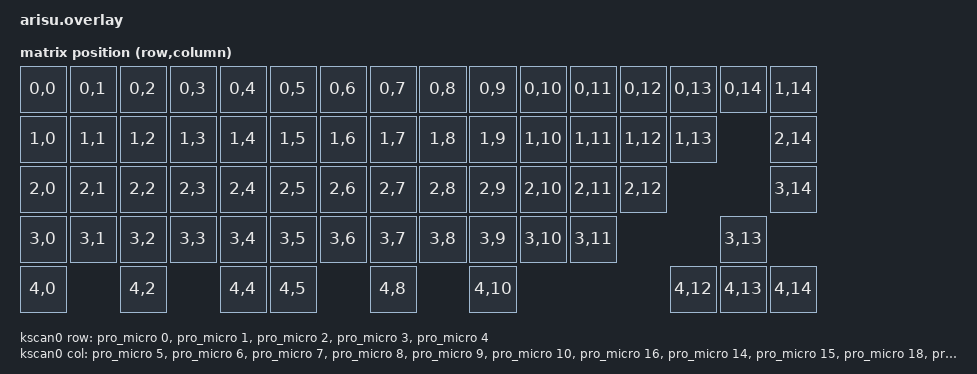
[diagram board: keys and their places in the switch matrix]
#include <dt-bindings/zmk/matrix_transform.h>

/ {
    chosen {
        zmk,kscan = &kscan0;
        zmk,matrix-transform = &default_transform;
    };


    default_transform: keymap_transform_0 {
        compatible = "zmk,matrix-transform";
        columns = <15>;
        rows = <5>;
        // Ánh xạ dựa trên layout QMK bạn cung cấp
        map = <
RC(0,0) RC(0,1) RC(0,2) RC(0,3) RC(0,4) RC(0,5) RC(0,6) RC(0,7) RC(0,8) RC(0,9) RC(0,10) RC(0,11) RC(0,12) RC(0,13) RC(0,14) RC(1,14)
RC(1,0) RC(1,1) RC(1,2) RC(1,3) RC(1,4) RC(1,5) RC(1,6) RC(1,7) RC(1,8) RC(1,9) RC(1,10) RC(1,11) RC(1,12) RC(1,13)          RC(2,14)
RC(2,0) RC(2,1) RC(2,2) RC(2,3) RC(2,4) RC(2,5) RC(2,6) RC(2,7) RC(2,8) RC(2,9) RC(2,10) RC(2,11) RC(2,12)                   RC(3,14)
RC(3,0) RC(3,1) RC(3,2) RC(3,3) RC(3,4) RC(3,5) RC(3,6) RC(3,7) RC(3,8) RC(3,9) RC(3,10) RC(3,11)                   RC(3,13)
RC(4,0)         RC(4,2)         RC(4,4) RC(4,5)         RC(4,8)          RC(4,10)                            RC(4,12) RC(4,13) RC(4,14)
        >;
    };

    kscan0: kscan {
        compatible = "zmk,kscan-gpio-matrix";
        diode-direction = "col2row"; // Hướng Diode: Cột sang Hàng

        /* 5 Rows - Sử dụng các chân từ GP2 đến GP6 (Pro Micro 0 đến 4) */
        row-gpios
            = <&pro_micro 0 (GPIO_ACTIVE_HIGH | GPIO_PULL_DOWN)> // Row 0
            , <&pro_micro 1 (GPIO_ACTIVE_HIGH | GPIO_PULL_DOWN)> // Row 1
            , <&pro_micro 2 (GPIO_ACTIVE_HIGH | GPIO_PULL_DOWN)> // Row 2
            , <&pro_micro 3 (GPIO_ACTIVE_HIGH | GPIO_PULL_DOWN)> // Row 3
            , <&pro_micro 4 (GPIO_ACTIVE_HIGH | GPIO_PULL_DOWN)> // Row 4
            ;

        /* 15 Columns - Sử dụng các chân còn lại trên headers và 2 chân mở rộng (P1.01, P1.02) */
        col-gpios
            = <&pro_micro 5  GPIO_ACTIVE_HIGH> // Col 0
            , <&pro_micro 6  GPIO_ACTIVE_HIGH> // Col 1
            , <&pro_micro 7  GPIO_ACTIVE_HIGH> // Col 2
            , <&pro_micro 8  GPIO_ACTIVE_HIGH> // Col 3
            , <&pro_micro 9  GPIO_ACTIVE_HIGH> // Col 4
            , <&pro_micro 10 GPIO_ACTIVE_HIGH> // Col 5
            , <&pro_micro 16 GPIO_ACTIVE_HIGH> // Col 6
            , <&pro_micro 14 GPIO_ACTIVE_HIGH> // Col 7
            , <&pro_micro 15 GPIO_ACTIVE_HIGH> // Col 8
            , <&pro_micro 18 GPIO_ACTIVE_HIGH> // Col 9
            , <&pro_micro 19 GPIO_ACTIVE_HIGH> // Col 10
            , <&pro_micro 20 GPIO_ACTIVE_HIGH> // Col 11
            , <&pro_micro 21 GPIO_ACTIVE_HIGH> // Col 12
            , <&gpio1 1      GPIO_ACTIVE_HIGH> // Col 13 (Chân P1.01 - Pad mặt dưới)
            , <&gpio1 2      GPIO_ACTIVE_HIGH> // Col 14 (Chân P1.02 - Pad mặt dưới)
            ;
    };
};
